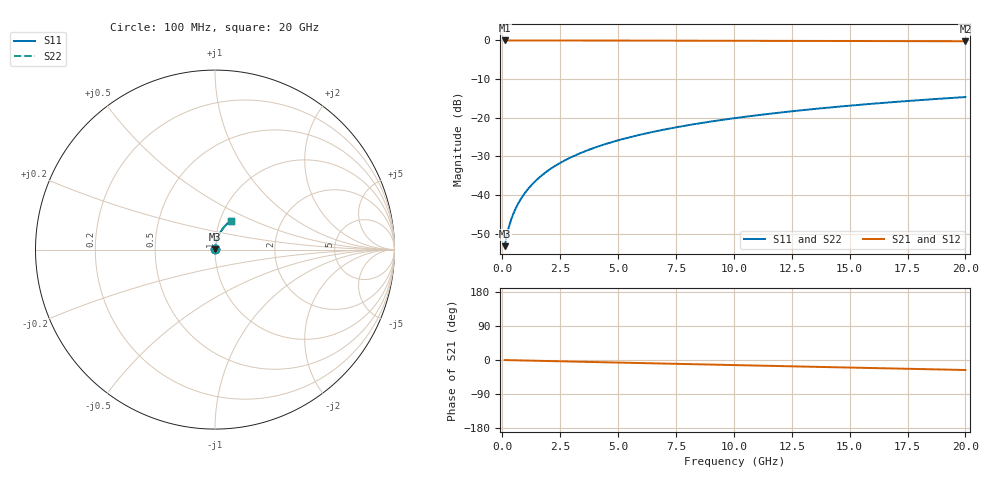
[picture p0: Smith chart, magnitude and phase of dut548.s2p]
! Touchstone file exported from HFSS 2026.1.0
!  File:  C:/ffzhzh/LocalFiles/Ansys_Project_Files/temp_train_TMRDL_548_1783007617_53980.aedt
!  Generated:  11:55:11 PM Jul  2, 2026
!  Design:  TMRDL
!  Project:  temp_train_TMRDL_548_1783007617_53980
! Variables:
!  h_bsmrdl = 2um
!  h_ox = 20um
!  h_rdl = 5um
!  h_sub = 80um
!  h_tmrdl = 3.81um
!  h_tsv = 80um
!  h_via = 3um
!  l_bsmrdl = 300um
!  l_sub = 805.81um
!  l_tmrdl = 405.81um
!  m_sub = 200um
!  pitch = 39.25um
!  r_tsv = 6um
!  s_tmrdl = 10um
!  w_bsmrdl = 18um
!  w_sub = 500um
!  w_tmrdl = 24.01um
!  x_tsv_center1 = 417.815um
!  x_tsv_center2 = 735.815um
!  x_tsv_center3 = 1165.635um
!  x_tsv_center4 = 1483.635um
!  x_tsv_center5 = 1913.455um
!  x_tsv_center6 = 2231.455um
# GHz S MA R 50.000000
! Terminal data exported
! Port[1] = TM_RDL1_1_T1
! Port[2] = TM_RDL1_1_T2
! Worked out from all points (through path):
!   200 points, 100 MHz to 20 GHz, reference 50 ohm
!   highest |S21| = -0.02 dB at 100 MHz (marker M1); lowest = -0.2 dB at 20 GHz (marker M2)
!   group delay of S21, straight-line fit = 3.66 ps
!   lowest |S11| = -53.2 dB at 100 MHz (marker M3), VSWR 1.00, Z = 50.2 + j0.123 ohm
!   |S11| at or under -10 dB: start of sweep to end of sweep
!   |S22| runs from -53.2 to -14.7 dB; largest |S21 - S12| = 5.1e-15
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0.1  0.002182 34.3  0.9982 -0.1  0.9982 -0.1  0.002182 34.3
! Gamma 0 0 0 0
! Port Impedance 50 0 50 0
0.2  0.003073 50.8  0.9981 -0.3  0.9981 -0.3  0.003073 50.8
0.3  0.004037 58.8  0.9979 -0.4  0.9979 -0.4  0.004037 58.8
0.4  0.004999 63.7  0.9978 -0.6  0.9978 -0.6  0.004999 63.7
0.5  0.00596 67.1  0.9977 -0.7  0.9977 -0.7  0.00596 67.1
0.6  0.006926 69.6  0.9977 -0.8  0.9977 -0.8  0.006926 69.6
0.8  0.00888 73.2  0.9976 -1.1  0.9976 -1.1  0.00888 73.2
1.1  0.01186 76.4  0.9975 -1.5  0.9975 -1.5  0.01186 76.4
1.3  0.01387 77.6  0.9974 -1.8  0.9974 -1.8  0.01387 77.6
1.6  0.0169 78.9  0.9973 -2.2  0.9973 -2.2  0.0169 78.9
2.1  0.02198 79.9  0.997 -2.9  0.997 -2.9  0.02198 79.9
2.7  0.02805 80.2  0.9966 -3.7  0.9966 -3.7  0.02806 80.2
3.5  0.03611 80.0  0.9961 -4.8  0.9961 -4.8  0.03611 80.0
4.2  0.04309 79.5  0.9955 -5.7  0.9955 -5.7  0.04309 79.5
5  0.05099 78.7  0.9947 -6.8  0.9947 -6.8  0.05099 78.7
5.9  0.05976 77.8  0.9938 -8.0  0.9938 -8.0  0.05976 77.8
6.8  0.06842 76.8  0.9928 -9.2  0.9928 -9.2  0.06842 76.8
8.3  0.08263 75.0  0.9911 -11.2  0.9911 -11.2  0.08263 75.0
10.1  0.09935 72.9  0.9889 -13.6  0.9889 -13.6  0.09935 72.9
13.4  0.1291 69.0  0.9845 -17.9  0.9845 -17.9  0.1291 68.9
16.7  0.1578 65.0  0.9795 -22.2  0.9795 -22.2  0.1578 65.0
20  0.1851 61.0  0.9741 -26.4  0.9741 -26.4  0.1851 61.0
